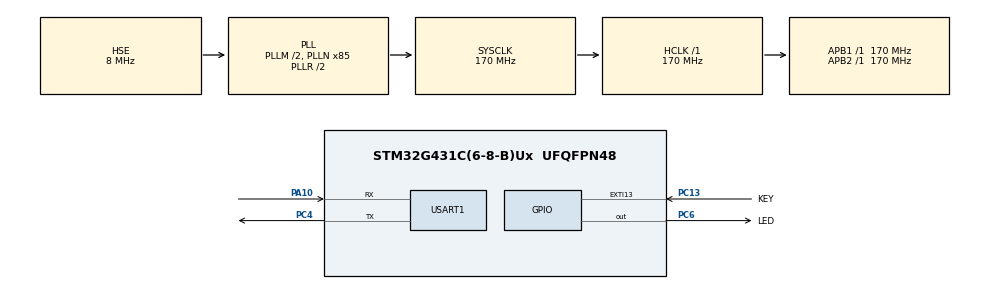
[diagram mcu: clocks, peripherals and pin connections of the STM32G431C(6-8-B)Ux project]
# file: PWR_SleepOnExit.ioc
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Mcu.Family=STM32G4
Mcu.Name=STM32G431C(6-8-B)Ux
Mcu.Package=UFQFPN48
NVIC.EXTI15_10_IRQn=true\:0\:0\:false\:false\:true\:true\:true\:true
NVIC.PriorityGroup=NVIC_PRIORITYGROUP_4
PA10.Mode=Asynchronous
PA10.Signal=USART1_RX
PA13.Mode=Trace_Asynchronous_SW
PA13.Signal=SYS_JTMS-SWDIO
PA14.Mode=Trace_Asynchronous_SW
PA14.Signal=SYS_JTCK-SWCLK
PB3.Mode=Trace_Asynchronous_SW
PB3.Signal=SYS_JTDO-SWO
PC13.GPIO_Label=KEY
PC13.GPIO_PuPd=GPIO_PULLDOWN
PC13.Signal=GPXTI13
PC4.Mode=Asynchronous
PC4.Signal=USART1_TX
PC6.GPIO_Label=LED
PC6.GPIO_ModeDefaultOutputPP=GPIO_MODE_OUTPUT_PP
PC6.GPIO_Speed=GPIO_SPEED_FREQ_LOW
PC6.PinState=GPIO_PIN_RESET
PC6.Signal=GPIO_Output
PF0-OSC_IN.Mode=HSE-External-Oscillator
PF0-OSC_IN.Signal=RCC_OSC_IN
PF1-OSC_OUT.Mode=HSE-External-Oscillator
PF1-OSC_OUT.Signal=RCC_OSC_OUT
ProjectManager.HeapSize=0x200
ProjectManager.StackSize=0x400
ProjectManager.TargetToolchain=STM32CubeIDE
RCC.ADC12Freq_Value=170000000
RCC.AHBFreq_Value=170000000
RCC.APB1Freq_Value=170000000
RCC.APB1TimFreq_Value=170000000
RCC.APB2Freq_Value=170000000
RCC.APB2TimFreq_Value=170000000
RCC.CortexFreq_Value=170000000
RCC.EXTERNAL_CLOCK_VALUE=12288000
RCC.HCLKFreq_Value=170000000
RCC.HSE_VALUE=8000000
RCC.HSI48_VALUE=48000000
RCC.HSI_VALUE=16000000
RCC.LSE_VALUE=32768
RCC.PLLM=RCC_PLLM_DIV2
RCC.PLLN=85
RCC.PLLSourceVirtual=RCC_PLLSOURCE_HSE
RCC.SYSCLKFreq_VALUE=170000000
RCC.SYSCLKSource=RCC_SYSCLKSOURCE_PLLCLK
RCC.USBFreq_Value=170000000
RCC.VCOOutputFreq_Value=340000000
USART1.VirtualMode-Asynchronous=VM_ASYNC
VP_SYS_VS_DBSignals.Mode=DisableDeadBatterySignals
VP_SYS_V_VREFBUF.Mode=ExternalMode
board=custom

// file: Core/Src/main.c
/* USER CODE BEGIN Header */
/**
  ******************************************************************************
  * @file           : main.c
  * @brief          : Main program body
  ******************************************************************************
  * @attention
  *
  * Copyright (c) 2025 STMicroelectronics.
  * All rights reserved.
  *
  * This software is licensed under terms that can be found in the LICENSE file
  * in the root directory of this software component.
  * If no LICENSE file comes with this software, it is provided AS-IS.
  *
  ******************************************************************************
  */
/* USER CODE END Header */
#include "main.h"

/* USER CODE BEGIN Includes */
#include "console.h"
/* USER CODE END Includes */

UART_HandleTypeDef huart1;

void SystemClock_Config(void);
static void MX_GPIO_Init(void);
static void MX_USART1_UART_Init(void);

/* USER CODE BEGIN 0 */

void HAL_GPIO_EXTI_Callback(uint16_t GPIO_Pin) {
	HAL_ResumeTick();
	HAL_GPIO_WritePin(LED_GPIO_Port, LED_Pin, GPIO_PIN_SET);
	printf("\r\nEXTI Work\r\n");
	HAL_GPIO_WritePin(LED_GPIO_Port, LED_Pin, GPIO_PIN_RESET);
	HAL_SuspendTick();
}

/* USER CODE END 0 */

int main(void)
{

  /* MCU Configuration--------------------------------------------------------*/

  /* Reset of all peripherals, Initializes the Flash interface and the Systick. */
  HAL_Init();

  /* Configure the system clock */
  SystemClock_Config();

  /* Initialize all configured peripherals */
  MX_GPIO_Init();
  MX_USART1_UART_Init();
  /* USER CODE BEGIN 2 */

  printf("\r\nDoing something\r\n");
  HAL_GPIO_WritePin(LED_GPIO_Port, LED_Pin, GPIO_PIN_SET);
  HAL_Delay(3000);
  HAL_GPIO_WritePin(LED_GPIO_Port, LED_Pin, GPIO_PIN_RESET);

  printf("Going into Sleep Mode with 'OnExit'\r\n");
  // Going to Sleep mode
  HAL_SuspendTick();
  HAL_PWR_EnableSleepOnExit();
  HAL_PWR_EnterSLEEPMode(PWR_MAINREGULATOR_ON, PWR_SLEEPENTRY_WFI);

  // This will never happen. After handling the interrupt, it goes straight to sleep mode.
  printf("You will never see this line!\r\n");

  /* USER CODE END 2 */

  /* Infinite loop */
  /* USER CODE BEGIN WHILE */
  while (1)
  {
	  // This will never happen. After handling the interrupt, it goes straight to sleep mode.
	  printf("You will never see this line (while)!\r\n");

    /* USER CODE END WHILE */

  }
}

void SystemClock_Config(void)
{
  RCC_OscInitTypeDef RCC_OscInitStruct = {0};
  RCC_ClkInitTypeDef RCC_ClkInitStruct = {0};

  /** Configure the main internal regulator output voltage
  */
  HAL_PWREx_ControlVoltageScaling(PWR_REGULATOR_VOLTAGE_SCALE1_BOOST);

  /** Initializes the RCC Oscillators according to the specified parameters
  * in the RCC_OscInitTypeDef structure.
  */
  RCC_OscInitStruct.OscillatorType = RCC_OSCILLATORTYPE_HSE;
  RCC_OscInitStruct.HSEState = RCC_HSE_ON;
  RCC_OscInitStruct.PLL.PLLState = RCC_PLL_ON;
  RCC_OscInitStruct.PLL.PLLSource = RCC_PLLSOURCE_HSE;
  RCC_OscInitStruct.PLL.PLLM = RCC_PLLM_DIV2;
  RCC_OscInitStruct.PLL.PLLN = 85;
  RCC_OscInitStruct.PLL.PLLP = RCC_PLLP_DIV2;
  RCC_OscInitStruct.PLL.PLLQ = RCC_PLLQ_DIV2;
  RCC_OscInitStruct.PLL.PLLR = RCC_PLLR_DIV2;
  if (HAL_RCC_OscConfig(&RCC_OscInitStruct) != HAL_OK)
  {
    Error_Handler();
  }

  /** Initializes the CPU, AHB and APB buses clocks
  */
  RCC_ClkInitStruct.ClockType = RCC_CLOCKTYPE_HCLK|RCC_CLOCKTYPE_SYSCLK
                              |RCC_CLOCKTYPE_PCLK1|RCC_CLOCKTYPE_PCLK2;
  RCC_ClkInitStruct.SYSCLKSource = RCC_SYSCLKSOURCE_PLLCLK;
  RCC_ClkInitStruct.AHBCLKDivider = RCC_SYSCLK_DIV1;
  RCC_ClkInitStruct.APB1CLKDivider = RCC_HCLK_DIV1;
  RCC_ClkInitStruct.APB2CLKDivider = RCC_HCLK_DIV1;

  if (HAL_RCC_ClockConfig(&RCC_ClkInitStruct, FLASH_LATENCY_4) != HAL_OK)
  {
    Error_Handler();
  }
}

static void MX_USART1_UART_Init(void)
{

  huart1.Instance = USART1;
  huart1.Init.BaudRate = 115200;
  huart1.Init.WordLength = UART_WORDLENGTH_8B;
  huart1.Init.StopBits = UART_STOPBITS_1;
  huart1.Init.Parity = UART_PARITY_NONE;
  huart1.Init.Mode = UART_MODE_TX_RX;
  huart1.Init.HwFlowCtl = UART_HWCONTROL_NONE;
  huart1.Init.OverSampling = UART_OVERSAMPLING_16;
  huart1.Init.OneBitSampling = UART_ONE_BIT_SAMPLE_DISABLE;
  huart1.Init.ClockPrescaler = UART_PRESCALER_DIV1;
  huart1.AdvancedInit.AdvFeatureInit = UART_ADVFEATURE_NO_INIT;
  if (HAL_UART_Init(&huart1) != HAL_OK)
  {
    Error_Handler();
  }
  if (HAL_UARTEx_SetTxFifoThreshold(&huart1, UART_TXFIFO_THRESHOLD_1_8) != HAL_OK)
  {
    Error_Handler();
  }
  if (HAL_UARTEx_SetRxFifoThreshold(&huart1, UART_RXFIFO_THRESHOLD_1_8) != HAL_OK)
  {
    Error_Handler();
  }
  if (HAL_UARTEx_DisableFifoMode(&huart1) != HAL_OK)
  {
    Error_Handler();
  }

}

static void MX_GPIO_Init(void)
{
  GPIO_InitTypeDef GPIO_InitStruct = {0};

  /* GPIO Ports Clock Enable */
  __HAL_RCC_GPIOC_CLK_ENABLE();
  __HAL_RCC_GPIOF_CLK_ENABLE();
  __HAL_RCC_GPIOA_CLK_ENABLE();
  __HAL_RCC_GPIOB_CLK_ENABLE();

  /*Configure GPIO pin Output Level */
  HAL_GPIO_WritePin(LED_GPIO_Port, LED_Pin, GPIO_PIN_RESET);

  /*Configure GPIO pin : KEY_Pin */
  GPIO_InitStruct.Pin = KEY_Pin;
  GPIO_InitStruct.Mode = GPIO_MODE_IT_RISING;
  GPIO_InitStruct.Pull = GPIO_PULLDOWN;
  HAL_GPIO_Init(KEY_GPIO_Port, &GPIO_InitStruct);

  /*Configure GPIO pin : LED_Pin */
  GPIO_InitStruct.Pin = LED_Pin;
  GPIO_InitStruct.Mode = GPIO_MODE_OUTPUT_PP;
  GPIO_InitStruct.Pull = GPIO_NOPULL;
  GPIO_InitStruct.Speed = GPIO_SPEED_FREQ_LOW;
  HAL_GPIO_Init(LED_GPIO_Port, &GPIO_InitStruct);

  /* EXTI interrupt init*/
  HAL_NVIC_SetPriority(EXTI15_10_IRQn, 0, 0);
  HAL_NVIC_EnableIRQ(EXTI15_10_IRQn);

}

void Error_Handler(void)
{
  __disable_irq();
  while (1)
  {
  }
}
